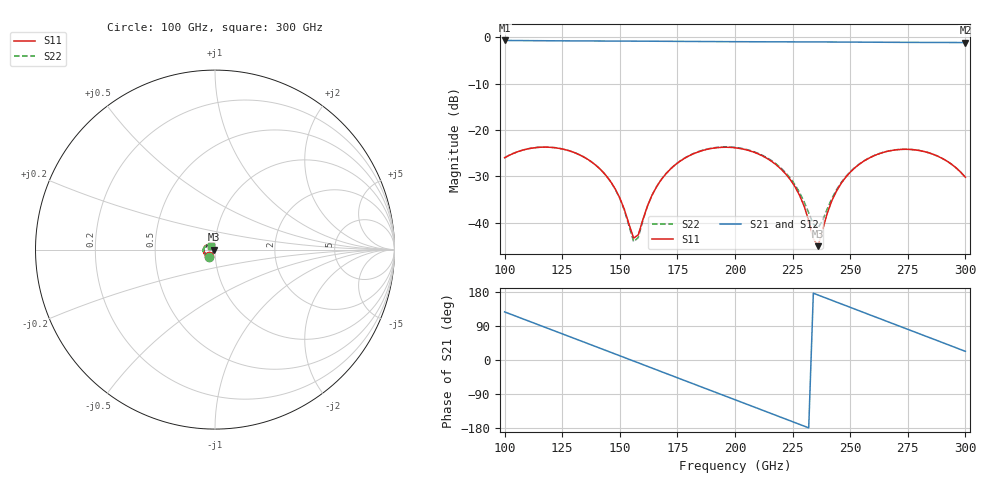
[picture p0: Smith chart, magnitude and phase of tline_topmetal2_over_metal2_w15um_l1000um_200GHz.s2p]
#  GHZ S DB R 50
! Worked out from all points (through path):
!   101 points, 100 GHz to 300 GHz, reference 50 ohm
!   highest |S21| = -0.71 dB at 100 GHz (marker M1); lowest = -1.2 dB at 300 GHz (marker M2)
!   group delay of S21, straight-line fit = 6.45 ps
!   lowest |S11| = -45.1 dB at 236 GHz (marker M3), VSWR 1.01, Z = 49.5 - j0.119 ohm
!   |S11| at or under -10 dB: start of sweep to end of sweep
!   |S22| runs from -44.1 to -23.7 dB; largest |S21 - S12| = 1e-13
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100  -26.01 -130.4  -0.71 127.0  -0.71 127.0  -25.99 -129.9
116  -23.73 -165.8  -0.76 89.9  -0.76 89.9  -23.71 -165.3
124  -24.01 176.6  -0.79 71.4  -0.79 71.4  -23.99 177.0
134  -25.74 155.4  -0.81 48.3  -0.81 48.3  -25.73 155.8
148  -32.71 132.8  -0.84 15.8  -0.84 15.8  -32.77 132.5
156  -43.32 172.3  -0.85 -2.8  -0.85 -2.8  -44.11 172.8
158  -42.65 -149.4  -0.86 -7.4  -0.86 -7.4  -43.23 -145.1
162  -36.40 -121.2  -0.87 -16.7  -0.87 -16.7  -36.46 -117.6
168  -30.73 -122.1  -0.88 -30.6  -0.88 -30.6  -30.70 -119.5
184  -24.75 -151.4  -0.93 -67.8  -0.93 -67.8  -24.69 -149.1
200  -23.85 174.7  -0.97 -104.9  -0.97 -104.9  -23.77 177.5
210  -25.16 153.7  -0.99 -128.0  -0.99 -128.0  -25.05 157.1
222  -29.50 130.8  -1.01 -155.9  -1.01 -155.9  -29.24 136.5
228  -34.09 124.0  -1.02 -169.8  -1.02 -169.8  -33.48 132.8
234  -43.47 148.9  -1.03 176.2  -1.03 176.2  -40.29 159.3
236  -45.08 -167.5  -1.03 171.6  -1.03 171.6  -41.18 -173.4
242  -35.33 -121.7  -1.04 157.6  -1.04 157.6  -34.82 -130.9
248  -30.25 -126.7  -1.05 143.7  -1.05 143.7  -30.12 -131.7
258  -26.13 -144.9  -1.08 120.4  -1.08 120.4  -26.09 -147.4
268  -24.43 -165.3  -1.10 97.2  -1.10 97.2  -24.41 -166.9
284  -24.92 161.6  -1.14 60.0  -1.14 60.0  -24.92 160.7
300  -30.23 133.8  -1.15 22.8  -1.15 22.8  -30.25 132.8
